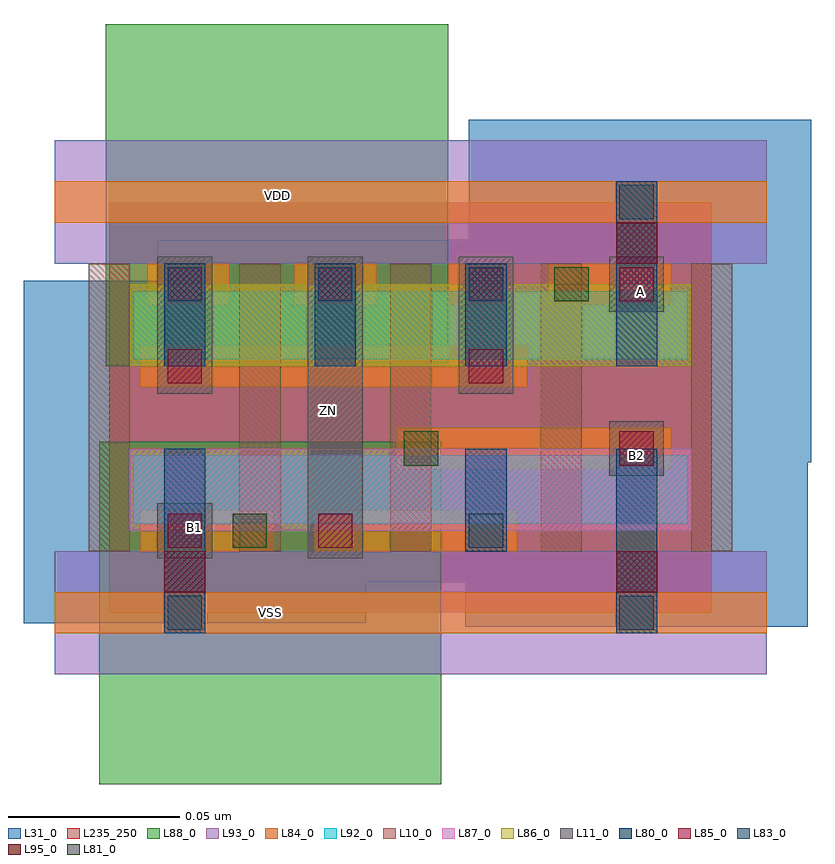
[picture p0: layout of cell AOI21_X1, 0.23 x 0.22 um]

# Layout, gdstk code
import gdstk
lib = gdstk.Library(unit=1e-6, precision=1e-09)
def R(c, l, rs):  # rectangles x0, y0, x1, y1
    for r in rs: c.add(gdstk.rectangle(r[:2], r[2:], *l))
def A(c, l, x, y, w, h, nx, ny, dx, dy):  # array of equal rectangles
    R(c, l, [(x+i*dx, y+j*dy, x+i*dx+w, y+j*dy+h) for i in range(nx) for j in range(ny)])
L10_0 = (10, 0)
L11_0 = (11, 0)
L31_0 = (31, 0)
L80_0 = (80, 0)
L81_0 = (81, 0)
L83_0 = (83, 0)
L84_0 = (84, 0)
L85_0 = (85, 0)
L86_0 = (86, 0)
L87_0 = (87, 0)
L88_0 = (88, 0)
L92_0 = (92, 0)
L93_0 = (93, 0)
L95_0 = (95, 0)
L235_250 = (235, 250)

aoi21_x1 = lib.new_cell('AOI21_X1')
A(aoi21_x1, L10_0, -0.006, 0.018, 0.012, 0.084, 5, 1, 0.044, 0)
R(aoi21_x1, L11_0, [(0.014,0.016,0.03,0.032), (0.058,0.016,0.074,0.104), (0.146,0.04,0.162,0.056), (0.014,0.064,0.03,0.104), (0.102,0.064,0.118,0.104), (0.146,0.088,0.162,0.104)])
R(aoi21_x1, L31_0, [(0.104,-0.004,0.204,0.096), (-0.025,-0.003,0.075,0.097), (0.014,0.009,0.114,0.109), (0.105,0.044,0.205,0.144)])
A(aoi21_x1, L80_0, 0.016, 0.072, 0.012, 0.03, 3, 1, 0.044, 0)
R(aoi21_x1, L80_0, [(0.016,-0.006,0.028,0.048), (0.148,-0.006,0.16,0.048), (0.104,0.018,0.116,0.048), (0.148,0.072,0.16,0.126)])
R(aoi21_x1, L81_0, [(0.036,0.019,0.046,0.029), (0.086,0.043,0.096,0.053), (0.13,0.091,0.14,0.101)])
A(aoi21_x1, L83_0, 0.017, 0.091, 0.01, 0.01, 3, 1, 0.044, 0)
R(aoi21_x1, L83_0, [(0.017,-0.005,0.027,0.005), (0.149,-0.005,0.159,0.005), (0.105,0.019,0.115,0.029), (0.149,0.115,0.159,0.125)])
R(aoi21_x1, L84_0, [(-0.016,-0.006,0.192,0.006), (0.009,0.018,0.048,0.03), (0.06,0.018,0.119,0.03), (0.084,0.042,0.164,0.054), (0.009,0.066,0.122,0.078), (0.011,0.09,0.035,0.102), (0.054,0.09,0.078,0.102), (0.099,0.09,0.116,0.102), (0.128,0.09,0.164,0.102), (-0.016,0.114,0.192,0.126)])
A(aoi21_x1, L85_0, 0.017, 0.091, 0.01, 0.01, 4, 1, 0.044, 0)
R(aoi21_x1, L85_0, [(0.017,0.019,0.027,0.029), (0.061,0.019,0.071,0.029), (0.149,0.043,0.159,0.053), (0.017,0.067,0.027,0.077), (0.105,0.067,0.115,0.077)])
R(aoi21_x1, L86_0, [(0.006,0.072,0.17,0.096)])
R(aoi21_x1, L87_0, [(0.006,0.024,0.17,0.048)])
R(aoi21_x1, L88_0, [(-0.003,-0.05,0.097,0.05), (-0.001,0.072,0.099,0.172)])
R(aoi21_x1, L92_0, [(0.007,0.026,0.169,0.046), (0.007,0.074,0.169,0.094)])
R(aoi21_x1, L93_0, [(-0.016,-0.018,0.192,0.018), (-0.016,0.102,0.192,0.138)])
R(aoi21_x1, L95_0, [(0.016,0.006,0.028,0.018), (0.148,0.006,0.16,0.018), (0.148,0.102,0.16,0.114)])
R(aoi21_x1, L235_250, [(0,0,0.176,0.12)])
aoi21_x1.add(gdstk.Label('VSS', (0.047,0), layer=88, texttype=0))
aoi21_x1.add(gdstk.Label('VDD', (0.049,0.122), layer=88, texttype=0))
aoi21_x1.add(gdstk.Label('A', (0.155,0.094), layer=31, texttype=0))
aoi21_x1.add(gdstk.Label('B1', (0.025,0.025), layer=31, texttype=0))
aoi21_x1.add(gdstk.Label('ZN', (0.064,0.059), layer=31, texttype=0))
aoi21_x1.add(gdstk.Label('B2', (0.154,0.046), layer=31, texttype=0))

lib.write_gds('AOI21_X1.gds')
